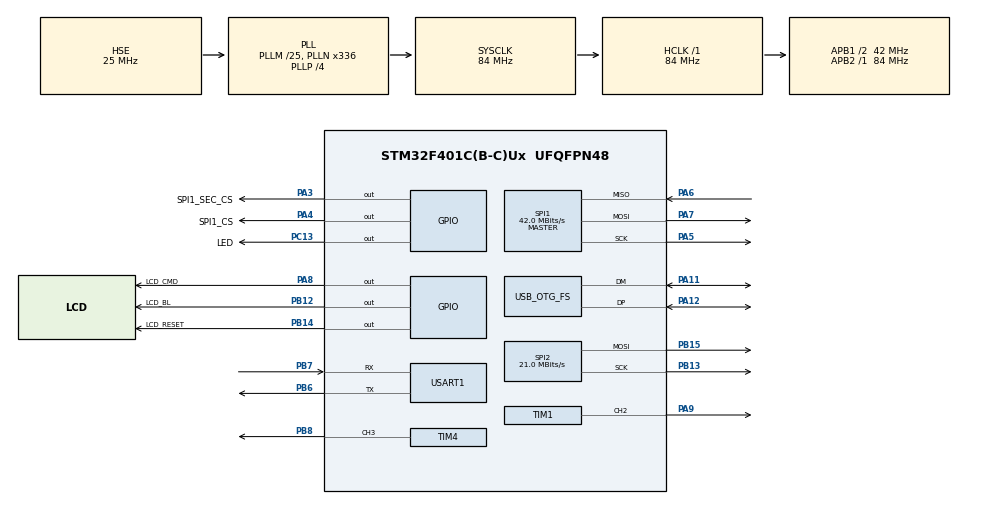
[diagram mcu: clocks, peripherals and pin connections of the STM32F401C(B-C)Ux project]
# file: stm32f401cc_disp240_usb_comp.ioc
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Dma.Request0=SPI2_TX
Dma.Request1=TIM4_CH3
Dma.Request2=TIM1_CH2
Dma.SPI2_TX.0.Direction=DMA_MEMORY_TO_PERIPH
Dma.SPI2_TX.0.FIFOMode=DMA_FIFOMODE_ENABLE
Dma.SPI2_TX.0.FIFOThreshold=DMA_FIFO_THRESHOLD_FULL
Dma.SPI2_TX.0.Instance=DMA1_Stream4
Dma.SPI2_TX.0.MemBurst=DMA_MBURST_INC4
Dma.SPI2_TX.0.MemDataAlignment=DMA_MDATAALIGN_WORD
Dma.SPI2_TX.0.MemInc=DMA_MINC_ENABLE
Dma.SPI2_TX.0.Mode=DMA_NORMAL
Dma.SPI2_TX.0.PeriphBurst=DMA_PBURST_SINGLE
Dma.SPI2_TX.0.PeriphDataAlignment=DMA_PDATAALIGN_BYTE
Dma.SPI2_TX.0.PeriphInc=DMA_PINC_DISABLE
Dma.SPI2_TX.0.Priority=DMA_PRIORITY_HIGH
Dma.TIM1_CH2.2.Direction=DMA_MEMORY_TO_PERIPH
Dma.TIM1_CH2.2.FIFOMode=DMA_FIFOMODE_ENABLE
Dma.TIM1_CH2.2.FIFOThreshold=DMA_FIFO_THRESHOLD_FULL
Dma.TIM1_CH2.2.Instance=DMA2_Stream2
Dma.TIM1_CH2.2.MemBurst=DMA_MBURST_INC4
Dma.TIM1_CH2.2.MemDataAlignment=DMA_MDATAALIGN_WORD
Dma.TIM1_CH2.2.MemInc=DMA_MINC_ENABLE
Dma.TIM1_CH2.2.Mode=DMA_CIRCULAR
Dma.TIM1_CH2.2.PeriphBurst=DMA_PBURST_SINGLE
Dma.TIM1_CH2.2.PeriphDataAlignment=DMA_PDATAALIGN_HALFWORD
Dma.TIM1_CH2.2.PeriphInc=DMA_PINC_DISABLE
Dma.TIM1_CH2.2.Priority=DMA_PRIORITY_VERY_HIGH
Dma.TIM4_CH3.1.Direction=DMA_MEMORY_TO_PERIPH
Dma.TIM4_CH3.1.FIFOMode=DMA_FIFOMODE_ENABLE
Dma.TIM4_CH3.1.FIFOThreshold=DMA_FIFO_THRESHOLD_FULL
Dma.TIM4_CH3.1.Instance=DMA1_Stream7
Dma.TIM4_CH3.1.MemBurst=DMA_MBURST_INC4
Dma.TIM4_CH3.1.MemDataAlignment=DMA_MDATAALIGN_WORD
Dma.TIM4_CH3.1.MemInc=DMA_MINC_ENABLE
Dma.TIM4_CH3.1.Mode=DMA_CIRCULAR
Dma.TIM4_CH3.1.PeriphBurst=DMA_PBURST_SINGLE
Dma.TIM4_CH3.1.PeriphDataAlignment=DMA_PDATAALIGN_HALFWORD
Dma.TIM4_CH3.1.PeriphInc=DMA_PINC_DISABLE
Dma.TIM4_CH3.1.Priority=DMA_PRIORITY_HIGH
Mcu.Family=STM32F4
Mcu.Name=STM32F401C(B-C)Ux
Mcu.Package=UFQFPN48
NVIC.DMA1_Stream4_IRQn=true\:1\:0\:true\:false\:true\:false
NVIC.DMA1_Stream7_IRQn=true\:1\:0\:true\:false\:true\:false
NVIC.DMA2_Stream2_IRQn=true\:0\:0\:true\:false\:true\:false
NVIC.OTG_FS_IRQn=true\:1\:0\:true\:false\:true\:false
NVIC.PriorityGroup=NVIC_PRIORITYGROUP_4
PA11.Mode=Host_Only
PA11.Signal=USB_OTG_FS_DM
PA12.Mode=Host_Only
PA12.Signal=USB_OTG_FS_DP
PA13.Mode=Serial_Wire
PA13.Signal=SYS_JTMS-SWDIO
PA14.Mode=Serial_Wire
PA14.Signal=SYS_JTCK-SWCLK
PA3.GPIO_Label=SPI1_SEC_CS
PA3.GPIO_Speed=GPIO_SPEED_FREQ_VERY_HIGH
PA3.Signal=GPIO_Output
PA4.GPIO_Label=SPI1_CS
PA4.PinState=GPIO_PIN_SET
PA4.Signal=GPIO_Output
PA5.Mode=Full_Duplex_Master
PA5.Signal=SPI1_SCK
PA6.Mode=Full_Duplex_Master
PA6.Signal=SPI1_MISO
PA7.Mode=Full_Duplex_Master
PA7.Signal=SPI1_MOSI
PA8.GPIO_Label=LCD_CMD
PA8.GPIO_Speed=GPIO_SPEED_FREQ_HIGH
PA8.Signal=GPIO_Output
PA9.Signal=S_TIM1_CH2
PB12.GPIO_Label=LCD_BL
PB12.Signal=GPIO_Output
PB13.Mode=TX_Only_Simplex_Unidirect_Master
PB13.Signal=SPI2_SCK
PB14.GPIO_Label=LCD_RESET
PB14.Signal=GPIO_Output
PB15.Mode=TX_Only_Simplex_Unidirect_Master
PB15.Signal=SPI2_MOSI
PB6.Mode=Asynchronous
PB6.Signal=USART1_TX
PB7.Mode=Asynchronous
PB7.Signal=USART1_RX
PB8.Signal=S_TIM4_CH3
PC13-ANTI_TAMP.GPIO_Label=LED
PC13-ANTI_TAMP.GPIO_ModeDefaultOutputPP=GPIO_MODE_OUTPUT_OD
PC13-ANTI_TAMP.Signal=GPIO_Output
PC14-OSC32_IN.Mode=LSE-External-Oscillator
PC14-OSC32_IN.Signal=RCC_OSC32_IN
PC15-OSC32_OUT.Mode=LSE-External-Oscillator
PC15-OSC32_OUT.Signal=RCC_OSC32_OUT
PH0\ -\ OSC_IN.Mode=HSE-External-Oscillator
PH0\ -\ OSC_IN.Signal=RCC_OSC_IN
PH1\ -\ OSC_OUT.Mode=HSE-External-Oscillator
PH1\ -\ OSC_OUT.Signal=RCC_OSC_OUT
ProjectManager.HeapSize=0x200
ProjectManager.StackSize=0x400
ProjectManager.TargetToolchain=SW4STM32
RCC.48MHZClocksFreq_Value=48000000
RCC.AHBFreq_Value=84000000
RCC.APB1CLKDivider=RCC_HCLK_DIV2
RCC.APB1Freq_Value=42000000
RCC.APB1TimFreq_Value=84000000
RCC.APB2Freq_Value=84000000
RCC.APB2TimFreq_Value=84000000
RCC.CortexFreq_Value=84000000
RCC.HCLKFreq_Value=84000000
RCC.HSE_VALUE=25000000
RCC.HSI_VALUE=16000000
RCC.PLLM=25
RCC.PLLN=336
RCC.PLLP=RCC_PLLP_DIV4
RCC.PLLQ=7
RCC.RCC_RTC_Clock_Source=RCC_RTCCLKSOURCE_LSE
RCC.RCC_RTC_Clock_SourceVirtual=RCC_RTCCLKSOURCE_LSE
RCC.SYSCLKFreq_VALUE=84000000
RCC.SYSCLKSource=RCC_SYSCLKSOURCE_PLLCLK
RCC.VCOOutputFreq_Value=336000000
SH.S_TIM1_CH2.0=TIM1_CH2,PWM Generation2 CH2
SH.S_TIM4_CH3.0=TIM4_CH3,PWM Generation3 CH3
SPI1.BaudRatePrescaler=SPI_BAUDRATEPRESCALER_2
SPI1.CLKPhase=SPI_PHASE_1EDGE
SPI1.CLKPolarity=SPI_POLARITY_LOW
SPI1.CalculateBaudRate=42.0 MBits/s
SPI1.DataSize=SPI_DATASIZE_8BIT
SPI1.Direction=SPI_DIRECTION_2LINES
SPI1.Mode=SPI_MODE_MASTER
SPI1.VirtualType=VM_MASTER
SPI2.BaudRatePrescaler=SPI_BAUDRATEPRESCALER_2
SPI2.CLKPhase=SPI_PHASE_2EDGE
SPI2.CLKPolarity=SPI_POLARITY_HIGH
SPI2.CalculateBaudRate=21.0 MBits/s
SPI2.Direction=SPI_DIRECTION_2LINES
SPI2.Mode=SPI_MODE_MASTER
SPI2.VirtualType=VM_MASTER
TIM1.Channel-PWM\ Generation2\ CH2=TIM_CHANNEL_2
TIM1.Period=12
TIM3.Period=65535
TIM3.Prescaler=84-1
TIM4.Channel-PWM\ Generation3\ CH3=TIM_CHANNEL_3
TIM4.Period=1903
USART1.VirtualMode=VM_ASYNC
USB_HOST.USBH_DEBUG_LEVEL=3
USB_HOST.USBH_HandleTypeDef=hUsbHostFS
USB_HOST.VirtualModeFS=Hid
USB_OTG_FS.VirtualMode=Host_Only
USB_OTG_FS.phy_itface=HCD_PHY_EMBEDDED
VP_FATFS_VS_Generic.Mode=User_defined
VP_RTC_VS_RTC_Activate.Mode=RTC_Enabled
VP_RTC_VS_RTC_Calendar.Mode=RTC_Calendar
VP_TIM3_VS_ClockSourceINT.Mode=Internal
VP_USB_HOST_VS_USB_HOST_HID_FS.Mode=HID_FS
board=custom

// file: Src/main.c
/* USER CODE BEGIN Header */
/**
  ******************************************************************************
  * @file           : main.c
  * @brief          : Main program body
  ******************************************************************************
  ** This notice applies to any and all portions of this file
  * that are not between comment pairs USER CODE BEGIN and
  * USER CODE END. Other portions of this file, whether
  * inserted by the user or by software development tools
  * are owned by their respective copyright owners.
  *
  * COPYRIGHT(c) 2020 STMicroelectronics
  *
  * Redistribution and use in source and binary forms, with or without modification,
  * are permitted provided that the following conditions are met:
  *   1. Redistributions of source code must retain the above copyright notice,
  *      this list of conditions and the following disclaimer.
  *   2. Redistributions in binary form must reproduce the above copyright notice,
  *      this list of conditions and the following disclaimer in the documentation
  *      and/or other materials provided with the distribution.
  *   3. Neither the name of STMicroelectronics nor the names of its contributors
  *      may be used to endorse or promote products derived from this software
  *      without specific prior written permission.
  *
  * THIS SOFTWARE IS PROVIDED BY THE COPYRIGHT HOLDERS AND CONTRIBUTORS "AS IS"
  * AND ANY EXPRESS OR IMPLIED WARRANTIES, INCLUDING, BUT NOT LIMITED TO, THE
  * IMPLIED WARRANTIES OF MERCHANTABILITY AND FITNESS FOR A PARTICULAR PURPOSE ARE
  * DISCLAIMED. IN NO EVENT SHALL THE COPYRIGHT HOLDER OR CONTRIBUTORS BE LIABLE
  * FOR ANY DIRECT, INDIRECT, INCIDENTAL, SPECIAL, EXEMPLARY, OR CONSEQUENTIAL
  * DAMAGES (INCLUDING, BUT NOT LIMITED TO, PROCUREMENT OF SUBSTITUTE GOODS OR
  * SERVICES; LOSS OF USE, DATA, OR PROFITS; OR BUSINESS INTERRUPTION) HOWEVER
  * CAUSED AND ON ANY THEORY OF LIABILITY, WHETHER IN CONTRACT, STRICT LIABILITY,
  * OR TORT (INCLUDING NEGLIGENCE OR OTHERWISE) ARISING IN ANY WAY OUT OF THE USE
  * OF THIS SOFTWARE, EVEN IF ADVISED OF THE POSSIBILITY OF SUCH DAMAGE.
  *
  ******************************************************************************
  */
/* USER CODE END Header */

#include "main.h"
#include "fatfs.h"
#include "usb_host.h"

/* USER CODE BEGIN Includes */
#include <stdio.h>
#include <stdarg.h>
#include <string.h>
#include <math.h>
#include <stdlib.h>

int  init_ram();
#include "st7789.h"
#include "stm32_adafruit_sd.h"

void setBK_imp(int k)
{

}
#define SD_TIMEOUT 30 * 1000

/* USER CODE END Includes */

RTC_HandleTypeDef hrtc;

SPI_HandleTypeDef hspi1;
SPI_HandleTypeDef hspi2;
DMA_HandleTypeDef hdma_spi2_tx;

TIM_HandleTypeDef htim3;

UART_HandleTypeDef huart1;

void SystemClock_Config(void);
static void MX_GPIO_Init(void);
static void MX_DMA_Init(void);
static void MX_USART1_UART_Init(void);
static void MX_SPI2_Init(void);
static void MX_SPI1_Init(void);
static void MX_RTC_Init(void);
static void MX_TIM4_Init(void);
static void MX_TIM1_Init(void);
static void MX_TIM3_Init(void);
void MX_USB_HOST_Process(void);

/* USER CODE BEGIN 0 */
#if 1
#include "usbh_def.h"
#include "usbh_hid.h"
#include "usbh_hid_keybd.h"
extern USBH_HandleTypeDef hUsbHostFS;
#endif
void retarget_put_char(char p)
{
	HAL_UART_Transmit(&huart1, &p, 1, 0xffffff); // send message via UART
}
int _write(int fd, char* ptr, int len)
{
    (void)fd;
    int i = 0;
    while (ptr[i] && (i < len))
    {
    	if (ptr[i] == '\r')
    	{

    	}
    	else
    	{
			retarget_put_char((int)ptr[i]);
			if (ptr[i] == '\n')
			{
				retarget_put_char((int)'\r');
			}
    	}
        i++;
    }
    return len;
}

// display utils
#if 0
void LCD_Draw_Char(char Character, int16_t X, int16_t Y, uint16_t Colour, uint16_t Size, uint16_t Background_Colour)
{
	printf("!!!LCD_Draw_Char: %c\n",Character);
}
void  LCD_Draw_Text2(const char* Text, int16_t X, int16_t Y, uint16_t Colour, uint16_t SizeX, uint16_t SizeY,uint16_t Background_Colour)
{
	printf("!!!LCD_Draw_Text2: %s\n",Text);
}
void  LCD_Draw_Text(const char* Text, int16_t X, int16_t Y, uint16_t Colour, uint16_t Size, uint16_t Background_Colour)
{
	printf("!!!LCD_Draw_Text: %s\n",Text);
}
#endif
volatile uint16_t keyMatrix  = 0;
uint16_t scanJSK()
{
	return keyMatrix;
}
void clearKey()
{
	keyMatrix = 0;
}

int  volume_perc = 50;

void setVolume0(int percent)
{
	volume_perc = percent;
	if(volume_perc<0)volume_perc = 0;
	if(volume_perc>100)volume_perc = 100;
	percent = volume_perc;
}

int getVolume0()
{
	return volume_perc;
}

#if 1
#define H_SIZE_BITS (8)
#define H_SIZE (1<<H_SIZE_BITS)
#define R_SIZE_BITS (11)
#define R_SIZE (1<<R_SIZE_BITS)
#else
#define H_SIZE_BITS (5)
#define H_SIZE (1<<H_SIZE_BITS)
#define R_SIZE_BITS (6)
#define R_SIZE (1<<R_SIZE_BITS)
#endif

#define PAL     626
#define NTSC    526

#define LINES PAL

//uint16_t VideoBuffer0s[N_SIZE];
//TIM_InitStruct.Autoreload = 12; 84000000/13       = 6.461538MHz

// line_time*cpu_freq/(Autoreload+1)
// 0.000064sec*84000000/13  = 413.53
#define N_TICKS  	(412)

//N_TICKS - BORDER and aligned
#define N_SIZE  	(N_TICKS)

// start pixels position
#define NS_SIZE 	(104)

// last pixels position =start+sinclair SCREENW +8 pixels border*2 must be <= N_TICKS
#define NL_SIZE 	(NS_SIZE+256+16)

// odd even synhro position
#define HALF_TICKS 	(N_TICKS/2)

//2.3*84mhz/13 = 14.86
#define T2_3us      (15)
//4.7*84mhz/13 = 30.36
#define T4_7us      (30)

uint16_t  VideoBuffer[N_SIZE*2];
uint16_t* VideoBuffer0 = &VideoBuffer[0];
uint16_t* VideoBuffer0m =&VideoBuffer[N_SIZE];

#define MAX_LEVEL  7
#define ZERO_LEVEL 0
#define BASE_LEVEL 3
#define SYNC_LEVEL 0
//f= 1/(2*PI*R*C);
//R= 300 Om / F = 5000000Hz ;
//C =1/ (F*2*Pi*R)

/*
#define MAX_LEVEL  8
#define ZERO_LEVEL 0
#define BASE_LEVEL 3
#define SYNC_LEVEL 0
*/
//volatile int complete = 3;
//volatile int oddEven = 0;

// 0 - line def with data, 1 - line def   2 - line1 3 -line3 4-line313 5-line 318 6-Line623 7-Line624

uint8_t policyT[PAL];

inline funcDef(uint16_t *pnt)
{
	uint32_t* pnt32 = pnt;
	for(int k=0;k<T4_7us/2;k++)
	{
		pnt32[k] = (SYNC_LEVEL<<16) | SYNC_LEVEL;
	}
	for(int k=T4_7us/2;k<N_SIZE/2;k++)
	{
		pnt32[k] = (BASE_LEVEL<<16) | BASE_LEVEL;
		//pnt[k] = BASE_LEVEL;
	}
	pnt[N_SIZE-1] = BASE_LEVEL;
}
inline  funcDefT(uint16_t *pnt)
{
	funcDef(pnt);
	/*(
	for(int k=0;k<T4_7us;k++)
	{
		pnt[k] = SYNC_LEVEL;
	}
	for(int k=T4_7us;k<NS_SIZE;k++)
	{
		pnt[k] = BASE_LEVEL;
	}
	for(int k=NL_SIZE;k<N_SIZE;k++)
	{
		pnt[k] = BASE_LEVEL;
	}
	*/
}
void funcL1(uint16_t *pnt)
{
	for(int k=0;k<N_SIZE;k++)
	{
		pnt[k] = BASE_LEVEL;
	}
	for(int k=0;k<HALF_TICKS-T4_7us;k++)
	{
		pnt[k] = SYNC_LEVEL;
	}
	for(int k=N_SIZE-T4_7us;k<N_SIZE;k++)
	{
		pnt[k] = SYNC_LEVEL;
	}
}

void funcL3(uint16_t *pnt)
{
	for(int k=0;k<N_SIZE;k++)
	{
		pnt[k] = BASE_LEVEL;
	}
	for(int k=0;k<HALF_TICKS-T4_7us;k++)
	{
		pnt[k] = SYNC_LEVEL;
	}
	for(int k=HALF_TICKS;k<HALF_TICKS+T2_3us;k++)
	{
		pnt[k] = SYNC_LEVEL;
	}
}

void funcL313(uint16_t *pnt)
{
	for(int k=0;k<N_SIZE;k++)
	{
		pnt[k] = BASE_LEVEL;
	}
	for(int k=0;k<T2_3us;k++)
	{
		pnt[k] = SYNC_LEVEL;
	}
	for(int k=HALF_TICKS;k<N_SIZE-T4_7us;k++)
	{
		pnt[k] = SYNC_LEVEL;
	}
}

void funcL318(uint16_t *pnt)
{
	for(int k=0;k<N_SIZE;k++)
	{
		pnt[k] = BASE_LEVEL;
	}
	for(int k=0;k<T2_3us;k++)
	{
		pnt[k] = SYNC_LEVEL;
	}
}
void funcL623(uint16_t *pnt)
{
	for(int k=0;k<N_SIZE;k++)
	{
		pnt[k] = BASE_LEVEL;
	}
	for(int k=0;k<T4_7us;k++)
	{
		pnt[k] = SYNC_LEVEL;
	}
	for(int k=HALF_TICKS;k<HALF_TICKS+T2_3us;k++)
	{
		pnt[k] = SYNC_LEVEL;
	}
}
void funcL624(uint16_t *pnt)
{
	for(int k=0;k<N_SIZE;k++)
	{
		pnt[k] = BASE_LEVEL;
	}
	for(int k=0;k<T2_3us;k++)
	{
		pnt[k] = SYNC_LEVEL;
	}
	for(int k=HALF_TICKS;k<HALF_TICKS+T2_3us;k++)
	{
		pnt[k] = SYNC_LEVEL;
	}
}

enum lineType {LinWD,lineND,line1,line3,line313,line318,line623,line624};
volatile int lineN = 0;
int 		 vBaseLine = 0;
int initTables()
{
	int WW= 0;
	lineN = 0;
    for(int k=0;k<PAL;k++)
    {
    	policyT[k] = LinWD;
    }

    if(LINES==PAL)
    {
    	policyT[623]   = line623;
    	policyT[624]   = line624;
    	policyT[625]   = line624;
    	policyT[1]     = line1;
    	policyT[2]     = line1;
    	policyT[3]     = line3;
    	policyT[4]     = line624;
    	policyT[5] 	   = line624;
    	policyT[311]   = line624;
    	policyT[312]   = line624;
    	policyT[313]   = line313;
    	policyT[314]   = line1;
    	policyT[315]   = line1;
    	policyT[316]   = line624;
    	policyT[317]   = line624;
    	policyT[318]   = line318;
    	vBaseLine = 23+25;
    	for(int k=0;k<23+25;k++)
    	{
    		if(policyT[k]==LinWD)
    			policyT[k] = lineND;
    		if(policyT[k+LINES/2]==LinWD)
    			policyT[k+LINES/2] = lineND;
    	}

    	for(int k=LINES/2-25;k<LINES/2;k++)
    	{
    		if(policyT[k]==LinWD)
    			policyT[k] = lineND;
    		if(policyT[k+LINES/2]==LinWD)
    			policyT[k+LINES/2] = lineND;
    	}
    }
    else
    {
    	policyT[1]   = line624;
    	policyT[2]   = line624;
    	policyT[3]   = line624;
    	policyT[4]   = line1;
    	policyT[5]   = line1;
    	policyT[6]   = line1;
    	policyT[7]   = line624;
    	policyT[8]   = line624;
    	policyT[9]   = line624;

    	policyT[263]   = line623;
    	policyT[264]   = line624;
    	policyT[265]   = line624;
    	policyT[266]   = line313;
    	policyT[267]   = line1;
    	policyT[268]   = line1;
    	policyT[269]   = line3;
    	policyT[270]   = line1;
    	policyT[271]   = line1;
    	policyT[272]   = line318;
    	vBaseLine = 23;
    	for(int k=0;k<23;k++)
    	{
    		if(policyT[k]==LinWD)
    			policyT[k] = lineND;
    		if(policyT[k+LINES/2]==LinWD)
    			policyT[k+LINES/2] = lineND;
    	}
    }
    for(int k=0;k<LINES;k++)
    {
    	if(policyT[k] == LinWD) WW++;
    }
    return WW;
}
volatile int prevFull0;
volatile int prevFull1;
int testPattern = 1;

const int stable[] = {0,1,2,3,4,5,6,7,6,5,4,3,2,1,0};
const int tables[] = {0,1,1,2,1,2,2,3};
//uint8_t  BKL0a[512];
//uint32_t BKL1a[512*4];
extern const uint32_t BKL1a[512][4];
uint32_t delta0 = 0;
uint32_t delta1 = 0;
uint32_t delta2 = 0;
uint8_t getBorderColor(int line);

void HAL_TIM_PeriodElapsedCallback3(int hl)
{
			  uint32_t t_start = TIM3->CNT;
			  uint16_t * pnt0 = hl?VideoBuffer0m:VideoBuffer0;
			  lineN++;
			  if(lineN==LINES)
			  {
				  lineN = 1;
			  }

			  int pol = policyT[lineN];
			  if((prevFull0!=pol) || (prevFull1!=pol))
			  {
				  switch(pol)
				  {
					  case  line1: funcL1(pnt0);break;
					  case  line3: funcL3(pnt0);break;
					  case  line313: funcL313(pnt0);break;
					  case  line318: funcL318(pnt0);break;
					  case  line623: funcL623(pnt0);break;
					  case  line624: funcL624(pnt0);break;
					  case  LinWD:   funcDefT(pnt0);break;
					  case  lineND:   funcDef(pnt0);break;
				  }
			  }
			  prevFull0 = prevFull1;
			  prevFull1 = pol;
			  int flagTime = ((HAL_GetTick()/400)&1)*0x100;
			  int tline = -1;
			  if(pol==LinWD)
			  {
				  int rLine = ((lineN-1) % (LINES/2))-(vBaseLine-1);
				  if(testPattern)
				  {
					  pnt0 += NS_SIZE;

					  if(rLine<80)
					  {
						  for(int k=0;k<NL_SIZE-NS_SIZE-4;k++)
						  {
							  pnt0[k] = ((k&1)?ZERO_LEVEL:(MAX_LEVEL/2))+BASE_LEVEL;
						  }
					  }
					  else if(rLine<160)
					  {
						  for(int k=0;k<NL_SIZE-NS_SIZE-4;k++)
						  {
							  pnt0[k] = (stable[(k/8)&0xf])+BASE_LEVEL;
						  }
					  }
					  else
					  {
						  for(int k=0;k<NL_SIZE-NS_SIZE-4;k++)
						  {
							  pnt0[k] = ((k&4)?ZERO_LEVEL:(MAX_LEVEL/3))+BASE_LEVEL;
						  }
					  }
					  /*
					  if(rLine==0)
					  {
						  for(int k=0;k<NL_SIZE-NS_SIZE-4;k++)
							  pnt0[k] = ((k&4)?ZERO_LEVEL:(MAX_LEVEL))+BASE_LEVEL;

					  }
					  if(rLine==239)
					  {
						  for(int k=0;k<NL_SIZE-NS_SIZE-4;k++)
							  pnt0[k] = ((k&4)?ZERO_LEVEL:MAX_LEVEL)+BASE_LEVEL;

					  }
					  */
				  }
				  else  // real data from spectrum
				  {
					  pnt0 += NS_SIZE;
					  //SINCLAIR_FLAGS.border = SINCLAIR_FLAGS.borderArray[rLine];
					  //SINCLAIR_FLAGS.borderArray_OLD[rLine] =SINCLAIR_FLAGS.border;
					  uint8_t border = getBorderColor(rLine);
					  int c10 = tables[border&7];

					  int scale = (0xA0*MAX_LEVEL/3)>>8;
					  uint16_t CLR1  =  scale*(c10)+BASE_LEVEL;
					  uint32_t CLR_F = (CLR1<<16)|CLR1  ;
					  uint32_t *pnt32 = (uint32_t *)pnt0;
					  for(int k=0;k<8;k++)
					  {
						  pnt0[k] = CLR1;
					  }

					  tline = rLine-(240-192)/2;
					  if(tline>=0&&tline<192)
					  {

						  int yb =  tline / 8;
						  int yt =  tline & 7;
						  int y  =  tline;// yt+yb*8;
						  uint16_t vr = ((y<<8)&0x0700)|((y<<2)&0xe0)|((y<<5)&0x1800);
						  uint8_t* VRAM = get_VIDEO_RAM()+vr;
						  uint8_t* ARAM = get_ATTR_RAM()+yb*32;
						  uint32_t *pnt = &pnt0[8];
						  for(int xb=0;xb<32;xb++)
						  {
							  //  uint16_t CLR0B = BKL0a[ARAM[xb]|flagTime];
							    uint32_t* BKL1a0 = &BKL1a[ARAM[xb]|flagTime][0];
								//uint16_t CLR0  = CLR0B&0xf;
								//uint16_t CLR1  = CLR0B>>4;
								uint8_t  val   = VRAM[xb];
								pnt[0] = BKL1a0[(val>>6)&0x3];
								pnt[1] = BKL1a0[(val>>4)&0x3];
								pnt[2] = BKL1a0[(val>>2)&0x3];
								pnt[3] = BKL1a0[(val)&0x3];
								pnt+=4;
#if 0
#if 0
                                for(int bit=0;bit<8;bit++)
                                {
                                	pnt[bit] = (val&(0x80>>bit))?CLR1:CLR0;
                                }
#else
								pnt[0] = (val&0x80)?CLR1:CLR0;
								pnt[1] = (val&0x40)?CLR1:CLR0;
								pnt[2] = (val&0x20)?CLR1:CLR0;
								pnt[3] = (val&0x10)?CLR1:CLR0;
								pnt[4] = (val&0x08)?CLR1:CLR0;
								pnt[5] = (val&0x04)?CLR1:CLR0;
								pnt[6] = (val&0x02)?CLR1:CLR0;
								pnt[7] = (val&0x01)?CLR1:CLR0;
#endif
								pnt += 8;
#endif
						  }

						 // uint8_t* ppnt = get_VIDEO_RAM()+ 32*tline;
						 // for(int k=8;k<NL_SIZE-NS_SIZE-4-8;k++)
						 // {
						//	  int bit = k&0x7;
						//	  pnt0[k] = (ppnt[(k-8)/8]>>bit)+BASE_LEVEL;
						 // }
					  }
					  else
					  {
						  uint32_t *pnt32z = (uint32_t *)pnt0;
						  for(int k=8/2;k<(NL_SIZE-NS_SIZE-8)/2;k++)
						  {
							  pnt32z[k] = (CLR1<<16)|CLR1;;
						  }
						  //for(int k=8/2;k<(NL_SIZE-NS_SIZE-4-8)/2;k++)
						  {
							  //pnt[k] = CLR_F;
						  }
					  }
					  uint32_t *pnt32z = (uint32_t *)pnt0;
					  for(int k=(NL_SIZE-NS_SIZE-8)/2;k<(NL_SIZE-NS_SIZE)/2;k++)
					  {
						  pnt32z[k] = (CLR1<<16)|CLR1;
						  //pnt0[k] = pnt0[k] = CLR1;ZERO_LEVEL+BASE_LEVEL+2;
					  }
				  }
			  }
			  if(tline==0)
			  delta0 =  TIM3->CNT-t_start;
			  if(tline==192/2)
			  delta1 =  TIM3->CNT-t_start;
			  if(tline==192)
			  delta2 =  TIM3->CNT-t_start;
}

#ifdef TV_OUT
/*
void LCD_Draw_Char(char Character, int16_t X, int16_t Y, uint16_t Colour, uint16_t Size, uint16_t Background_Colour)
{
	printf("!!!LCD_Draw_Char: %c\n",Character);
}
void  LCD_Draw_Text2(const char* Text, int16_t X, int16_t Y, uint16_t Colour, uint16_t SizeX, uint16_t SizeY,uint16_t Background_Colour)
{
	printf("!!!LCD_Draw_Text2: %s\n",Text);
}
void  LCD_Draw_Text(const char* Text, int16_t X, int16_t Y, uint16_t Colour, uint16_t Size, uint16_t Background_Colour)
{
	printf("!!!LCD_Draw_Text: %s\n",Text);
}
*/
int LCD_getWidth()
{
	return 256;
}
int LCD_getHeight()
{
	return 192;
}
void setPixel(int x,int y,int color,uint8_t attr)
{
	if(x>=0&&x<256&&y>=0&&y<192)
	{
	  int tline = y;
	  int yb =  tline / 8;
	  int yt =  tline & 7;
	  uint16_t vr = ((y<<8)&0x0700)|((y<<2)&0xe0)|((y<<5)&0x1800);
	  uint8_t* VRAM = get_VIDEO_RAM()+vr;
	  uint8_t* ARAM = get_ATTR_RAM()+yb*32;
	  int xb = x/8;
	  ARAM[xb] = attr;
	  if(color)
	  {
		  VRAM[xb] |= 0x80 >>(x&7);
	  }
	  else
	  {
		  VRAM[xb] &= ~(0x80 >>(x&7));
	  }
	}
}
void LCD_fillRect(uint16_t x1, uint16_t y1, uint16_t w, uint16_t h, uint16_t color)
{

      if(color==BLACK)
      {
    	  for(int y=y1;y<y1+h;y++)
    	  {
    		  for(int x=x1;x<x1+w;x++)
    		  {
    			  setPixel(x,y,1,7*8+0);
    		  }
    	  }
      }
      else
      {
    	  for(int y=y1;y<y1+h;y++)
    	  {
    		  for(int x=x1;x<x1+w;x++)
    		  {
    			  setPixel(x,y,0,7*8+0);
    		  }
    	  }
      }

}
void LCD_Write8x8line16(uint16_t x1,uint16_t y1,uint16_t * data)
{
}
#endif

void clearFullScreen()
{
	LCD_fillRect(0, 0, LCD_getWidth(), LCD_getHeight(), BLACK);
}

uint16_t VoiceBuff1[H_SIZE];
uint8_t VoiceBuff1T[R_SIZE];

volatile int sound_head = 0;
volatile int sound_tail = 0;

int sound_size()
{
	return (sound_head+R_SIZE-sound_tail)&(R_SIZE-1);
}
inline int iwaitFor()
{
	int cntWait = 0;
	//TimMasterHandle.Instance = TIM2;
	while(((sound_head+R_SIZE-sound_tail)&(R_SIZE-1))>(R_SIZE-16))
	{

		    // Disable HAL tick interrupt
		   // __HAL_TIM_DISABLE_IT(&TimMasterHandle, TIM_IT_CC2);

		    // Request to enter SLEEP mode
		    //HAL_PWR_EnterSLEEPMode(PWR_MAINREGULATOR_ON, PWR_SLEEPENTRY_WFI);

		    // Enable HAL tick interrupt
		    //__HAL_TIM_ENABLE_IT(&TimMasterHandle, TIM_IT_CC2);
				//HAL_PWR_EnterSLEEPMode(PWR_MAINREGULATOR_ON, PWR_SLEEPENTRY_WFI);
		//HAL_Delay(1);
		cntWait++;
	}
	return cntWait;
}
int waitFor()
{
	return iwaitFor();
}
void push_pair(uint16_t Left,uint16_t Right)
{
	iwaitFor();
	VoiceBuff1T[sound_head] = Right;
	sound_head = (sound_head+1)&(R_SIZE-1);
}
void cleanAudioBuffer()
{
	waitFor();
	for(int k=0;k<R_SIZE;k++)
	{
#ifdef DAC_OUTPUT
			push_pair(2048,2048);
#else
			push_pair(MAX_VOLUME/2,MAX_VOLUME/2);
#endif
	}
}
volatile int cnt0 = 0;
volatile int cnt1 = 0;
void TIM4_TC7()
{
	cnt0++;
	int k;
	for(k=H_SIZE/2;k<H_SIZE;k++)
	{
		VoiceBuff1[k] =((uint16_t)(VoiceBuff1T[sound_tail]));
		sound_tail = (sound_tail+1)&(R_SIZE-1);
	}
}
void TIM4_HT7()
{
	cnt1++;
	int k;
	for(k=0;k<H_SIZE/2;k++)
	{
		VoiceBuff1[k] = ((uint16_t) (VoiceBuff1T[sound_tail]));
		sound_tail = (sound_tail+1)&(R_SIZE-1);
	}
}

void loop()
{
}
extern int ustate;

uint8_t* SD_BUFF = (uint8_t* ) &VideoBuffer[0];
uint8_t bbuf[512];
void *	m_malloc (size_t __size)
{
	if(__size == 512)
	{
		return bbuf;
	}
	else
	{
		//printf("alloc size = %d\n",__size);

		return malloc(__size);
	}
}
void m_free (void *pnt)
{
	if(pnt==bbuf)
	{

	}
	else
		free(pnt);
}

#define IMAGE_WIDTH  240
RGB_typedef *RGB_matrix;
/*
uint16_t color_convertRGB_to161(uint8_t R,uint8_t G,uint8_t B)
{

	return __REV16(((R>>3)<<11)|((G>>2)<<5)|(B>>3));
}
*/
void LCD_sendLineRect(uint16_t y1,uint8_t * data);

void TIM1_TC2()
{
	HAL_TIM_PeriodElapsedCallback3(1);
}
void TIM1_HT2()
{
	HAL_TIM_PeriodElapsedCallback3(0);
}
void TIM1_TE2()
{
}

#if 1
void init_timerLL1()
{
	  LL_AHB1_GRP1_EnableClock(LL_AHB1_GRP1_PERIPH_DMA2);

	  LL_DMA_ConfigAddresses(DMA2, LL_DMA_STREAM_2, (uint32_t)&VideoBuffer[0], (uint32_t)&TIM1->CCR2, LL_DMA_GetDataTransferDirection(DMA2, LL_DMA_STREAM_2));
	  LL_DMA_SetDataLength(DMA2, LL_DMA_STREAM_2, N_SIZE*2);
	  LL_DMA_EnableIT_TC(DMA2, LL_DMA_STREAM_2);
	  LL_DMA_EnableIT_HT(DMA2, LL_DMA_STREAM_2);

	  /***************************/
	  /* Enable the DMA transfer */
	  /***************************/
	  LL_DMA_EnableStream(DMA2, LL_DMA_STREAM_2);

	  LL_TIM_EnableDMAReq_CC2(TIM1);

	  LL_TIM_CC_EnableChannel(TIM1, LL_TIM_CHANNEL_CH2);

	  LL_TIM_EnableAllOutputs(TIM1);
	  LL_TIM_EnableCounter(TIM1);

}
#endif

void init_timerLL4()
{
	  LL_AHB1_GRP1_EnableClock(LL_AHB1_GRP1_PERIPH_DMA2);
	  LL_DMA_ConfigAddresses(DMA1, LL_DMA_STREAM_7, (uint32_t)&VoiceBuff1[0], (uint32_t)&TIM4->CCR3, LL_DMA_GetDataTransferDirection(DMA1, LL_DMA_STREAM_7));
	  LL_DMA_SetDataLength(DMA1, LL_DMA_STREAM_7, H_SIZE);
	  LL_DMA_EnableIT_TC(DMA1, LL_DMA_STREAM_7);
	  LL_DMA_EnableIT_HT(DMA1, LL_DMA_STREAM_7);

	  /***************************/
	  /* Enable the DMA transfer */
	  /***************************/
	  LL_DMA_EnableStream(DMA1, LL_DMA_STREAM_7);

	  LL_TIM_EnableDMAReq_CC3(TIM4);

	  LL_TIM_CC_EnableChannel(TIM4, LL_TIM_CHANNEL_CH3);

	  LL_TIM_EnableAllOutputs(TIM4);
	  LL_TIM_EnableCounter(TIM4);

}
extern uint8_t usb_mode;
extern USBH_HandleTypeDef hUsbHostFS;
uint8_t kstate = 0;

int dummyFunction(struct SYS_EVENT* ev)
{
	printf("dummy mess   = %x\r\n",ev->message);
	printf("dummy param1 = %x\r\n",ev->param1);
	printf("dummy param2 = %x\r\n",ev->param2);
	return 0;
}

dispathFunction currFunc = &dummyFunction;
#define stackFuncSize 16
dispathFunction stackFunc[stackFuncSize];

int stackFuncP = 0;

void pushMenuFunc(void*fnk)
{
	if(stackFuncP<stackFuncSize-2)
	{
		stackFunc[stackFuncP] = fnk;
		stackFuncP++;
	}
}

dispathFunction popMenuFunc()
{
	if(stackFuncP>0)
	{
		stackFuncP--;
	}
	currFunc = stackFunc[stackFuncP];
	return currFunc;
}

void setCurrentFunc(void*fnk)
{
	pushMenuFunc(currFunc);
	currFunc = fnk;
}

char *mess = "Hello Dima\r";
int readDirIntoList1(char* currentDir)
{
	FILINFO 	MyFileInfo;
	DIR 		MyDirectory;
	FRESULT 	res;
	res = f_opendir(&MyDirectory,currentDir);
	int files = 0;
	if(res == FR_OK)
	{
		for (;;)
		{
			      res = f_readdir(&MyDirectory, &MyFileInfo);
			      if(res != FR_OK || MyFileInfo.fname[0] == 0)
				break;
			      //~ if(numFiles<LCD_getHeight()/CHAR_HEIGHT-2)
			      {
				     // if(files<NUM_LINES)
				      {
					      //strcpy(Lines[files].cacheLine,MyFileInfo.fname);
				    	  printf("file:: %7d %x	%s \r\n",MyFileInfo.fsize,MyFileInfo.fattrib,MyFileInfo.fname);
				    	  //putStr(MyFileInfo.fattrib,MyFileInfo.fname);
					      files++;
				      }
				      //~ const uint16_t yScr = (240-192)/2-4;
				      //~ const uint16_t xScr = (320-256)/2-4;
				      //~ int lp = (snumFiles-baseline);
				      //~ if(lp>=0&&lp<192/8-1)
				      //~ {
						//~ LCD_Draw_Text(MyFileInfo.fname,xScr,yScr+(snumFiles-baseline)*8, GREEN, 1, (selection==snumFiles)?YELLOW:BLACK);
				      //~ }
			      }
		}
      }
	else if(res==FR_NO_FILESYSTEM)
	{
		printf("FR_NO_FILESYSTEM\n");
		//~ LCD_Draw_Text("format?",10,130, GREEN, 2, BLACK);
	}
	else
	{
		//~ LCD_Draw_Text("open fail",10,130, GREEN, 2, BLACK);
	}
    f_closedir(&MyDirectory);
    return files;
}
int capsFl = 9;
void init_Sinclair();
int menu_dispatch(struct SYS_EVENT* ev);
int z48_z128_dispatch(struct SYS_EVENT* ev);
//uint8_t kbs[256];
HID_KEYBD_Info_TypeDef prev_state_s;
void setTapeSpeed(int ts);

void kscan0()
{
        MX_USB_HOST_Process();
    	if(usb_mode==HOST_USER_CLASS_ACTIVE)
    	{
			if(capsFl == 9)
			{
				kstate = 0x80;
				capsFl = 0;
			}
    		HID_KEYBD_Info_TypeDef * ki=USBH_HID_GetKeybdInfo(&hUsbHostFS);
    		//int reps = 1;
    		//while(ki && reps>0)
    		if(ki)
    		{
    			//reps --;
				prev_state_s = *ki;
				printf("%d %d %d %x : %x %x %x %x %x%x%x%x%x%x%x%x\n",
												delta0,
												delta1,
												delta2,
												ki->state,
												ki->keys[0],
												ki->keys[1],
												ki->keys[2],
												ki->keys[3],
												ki->lctrl,
												ki->lshift,
												ki->lalt,
												ki->lgui,
												ki->rctrl,
												ki->rshift,
												ki->ralt,
												ki->rgui);

#if 0
				char c = USBH_HID_GetASCIICode(ki);
				printf("%x : %x %x %x %x %x%x%x%x%x%x%x%x\n",
												ki->state,
												ki->keys[0],
												ki->keys[1],
												ki->keys[2],
												ki->keys[3],
												ki->lctrl,
												ki->lshift,
												ki->lalt,
												ki->lgui,
												ki->rctrl,
												ki->rshift,
												ki->ralt,
												ki->rgui);
#endif
				for(int k=0;k<1;k++)
				{
					switch(ki->keys[k])
					{
				    	case  KEY_RIGHTARROW: 	keyMatrix = K_RIGHT;break;
					    case  KEY_LEFTARROW: 	keyMatrix = K_LEFT;break;
					    case  KEY_DOWNARROW: 	keyMatrix = K_DOWN;break;
						case  KEY_UPARROW: 		keyMatrix = K_UP;break;
						case  KEY_F10: 			setTapeSpeed(0);break;
						case  KEY_F11: 			setTapeSpeed(1);break;
						case  KEY_F12: 			setTapeSpeed(2);break;

						case  0x0:  			keyMatrix = 0;break;
						case  KEY_ENTER:  		keyMatrix = K_FIRE;break;//enterbreak;
						case  KEY_SPACEBAR: 	keyMatrix = K_SPACE;break;
						case  KEY_ESCAPE:		keyMatrix = K_ESC;break;
						case  KEY_F7:  			setScreenOffset(0);break;
						case  KEY_F8:  			setScreenOffset(1);break;
						case  KEY_F9:  			setScreenOffset(2);break;
						case  KEY_F6:
										initRam();
										ay_reset();
										z80_reset(1);
										SKEY_QUE_init();
										setScreenOffset(0);
									break;
					};
				}

				if(ki->keys[0]==0x39)
				{
					if(capsFl&2)
					{
						capsFl&=~2;
					}
					else
					{
						capsFl|=2;
					}
					kstate = 0x80 | capsFl;
				}
				if(ki->keys[0]==0x53)
				{
					if(capsFl&1)
					{
						capsFl&=~1;
					}
					else
					{
						capsFl|=1;
					}
					kstate = 0x80 | capsFl;
				}
				if(ki->keys[0]==0x47)
				{
					if(capsFl&4)
					{
						capsFl&=~4;
					}
					else
					{
						capsFl|=4;
					}
					kstate = 0x80 | capsFl;
				}
			//	ki = USBH_HID_GetKeybdInfo(&hUsbHostFS);
		}
		if(kstate&0x80)
		{
		    	kstate &= 0x7f;
		    	int tmOut = 1000;
		    	while(tmOut>0&&USBH_HID_SetReport(&hUsbHostFS,0x2,0,&kstate,1)!=USBH_OK)
		    	{
		    		tmOut--;
		    	};
		}
	}
	else
	{
		  capsFl = 9;
	}
}

//~ volatile int cntP  = 0;

/* USER CODE END 0 */

int main(void)
{

  /* MCU Configuration--------------------------------------------------------*/

  /* Reset of all peripherals, Initializes the Flash interface and the Systick. */
  HAL_Init();

  /* Configure the system clock */
  SystemClock_Config();

  /* Initialize all configured peripherals */
  MX_GPIO_Init();
  MX_DMA_Init();
  MX_USART1_UART_Init();
  MX_SPI2_Init();
  MX_SPI1_Init();
  MX_RTC_Init();
  MX_FATFS_Init();
  MX_USB_HOST_Init();
  MX_TIM4_Init();
  MX_TIM1_Init();
  MX_TIM3_Init();
  /* USER CODE BEGIN 2 */
   printf("\n\nProgram start\n");
  // init_ram();
   init_Sinclair();
	if(HAL_TIM_Base_Start(&htim3)!= HAL_OK)
	{
		printf("set TIM1 TIM_CHANNEL_3 error\r\n");
	}
	{
		uint32_t tstart= TIM3->CNT;
		HAL_Delay(10);
		tstart= TIM3->CNT-tstart;
		printf("TIM3->CNT in 10 ms= %d\n",tstart);
	}
   SD_CardInfo CardInfo;
   uint8_t sd_state= BSP_SD_Init();
   printf("sd_state = %x\n",sd_state);
   BSP_SD_GetCardInfo(&CardInfo);
	int WW= initTables();
   printf("W2 =%d\n",NL_SIZE-NS_SIZE);
   printf("H=%d %d\n",WW/2,WW);

   printf("hsd.CardCapacity =%d\n",CardInfo.CardCapacity);
   //printf("hsd.SdCard.BlockNbr=%d\n",hsd.SdCard.BlockNbr);
   //printf("hsd.SdCard.BlockSize=%d\n",hsd.SdCard.BlockSize);
   //printf("hsd.SdCard.CardType=%d\n",hsd.SdCard.CardType);
   //printf("hsd.SdCard.CardVersion=%d\n",hsd.SdCard.CardVersion);
   //printf("hsd.SdCard.Class=%d\n",hsd.SdCard.Class);
   printf("hsd.CardBlockSize =%d\n",CardInfo.CardBlockSize);
   printf("hsd.SdCard.LogBlockNbr=%d\n",CardInfo.LogBlockNbr);
   printf("hsd.SdCard.LogBlockSize=%d\n",CardInfo.LogBlockSize);

 /*
   printf("CardInfo.BlockNbr  = 0x%x\n",CardInfo.BlockNbr);
   printf("CardInfo.BlockSize = 0x%x\n",CardInfo.BlockSize);
   printf("CardInfo.CardType  = 0x%x\n",CardInfo.CardType);
   printf("CardInfo.CardVersion  = 0x%x\n",CardInfo.CardVersion);
   printf("CardInfo.Class  = %x\n",CardInfo.Class);
   printf("CardInfo.LogBlockNbr  = 0x%x\n",CardInfo.LogBlockNbr);
   printf("CardInfo.LogBlockSize  = 0x%x\n",CardInfo.LogBlockSize);
   printf("CardInfo.RelCardAdd  = 0x%x\n",CardInfo.RelCardAdd);
 */
   uint64_t size_k = CardInfo.LogBlockNbr;
   size_k = size_k*CardInfo.LogBlockSize;

   printf("CardInfo size %d MB\n",(int)(size_k/1024/1024));
  printf("freq= %d %d %d %d\n",HAL_RCC_GetSysClockFreq(),HAL_RCC_GetHCLKFreq(),HAL_RCC_GetPCLK1Freq(),HAL_RCC_GetPCLK2Freq());
  {
	  int32_t tk = HAL_GetTick();
	  int stat = 0;
	  int kk;
	  for(kk=0;(kk<2*64)&&!stat;kk++)
	  {
  			stat = BSP_SD_ReadBlocks(&SD_BUFF[0],kk,1, SD_TIMEOUT);
	  }
	  tk = HAL_GetTick()-tk;
	  printf("Read %d blocks (bytes = %d) in %d ms st = %d\n",kk,kk*512,tk,stat);
	//  paint();
  }
  f_mount(NULL,USERPath, 0);
	if(f_mount(&USERFatFS,USERPath, 0) != FR_OK)
	{
		printf("f_mount Error!\r\n");
		return 0;
	}
#if 0
	char baseDir[0x20];
	strcpy(baseDir,"/");
	int rfiles =  readDirIntoList1(baseDir);
	strcpy(baseDir,"/Z48");
	printf("Z48:\n------");
	rfiles =  readDirIntoList1(baseDir);
	strcpy(baseDir,"/Z128");
	printf("Z128:\n------");
	rfiles =  readDirIntoList1(baseDir);
#endif
//   init_Display();
#ifndef TV_OUT
      {
	      LCD_init();
	      LCD_setRotation(PORTRAIT_FLIP);
   		uint32_t trt = HAL_GetTick();
   		int k;
   		//  printf("RID4 %x\n",ili9341_ReadID4());
   		//  printf("RID4 %x\n",ili9341_ReadID4());
   		//setBK_imp(99);
   		for(k=0;k<10;k++)
   		{
   			LCD_fillRect(0, 0, LCD_getWidth(), LCD_getHeight(), rand());
   			//HAL_GPIO_TogglePin(BOARD_LED_GPIO_Port,BOARD_LED_Pin);
   		}
   		trt = (HAL_GetTick()-trt);
   		printf("SCR_FULL %d uS\n",trt*100);
        LCD_fillRect(0, 0, LCD_getWidth(), LCD_getHeight(),BLACK);
      }
#endif
      /* Open the JPG image with read access */
	    printf("initTimers\n");
	    init_timerLL1();
	    init_timerLL4();
		printf("setCurrentFunc(&menu_dispatch)\n");
		volatile struct SYS_EVENT event;
		event.message = MESS_OPEN;
		event.param1  = 0x1234;
		event.param2  = 0x5678;
	#warning "setCurrentFunc(&menu_dispatch),no sinclair on start!"
	//	setModeFile(1);
	//	setCurrentFunc(&z48_z128_dispatch);
		HAL_Delay(3000);
		testPattern = 0;
		setCurrentFunc(&menu_dispatch);

  //    init_ram();
  /* USER CODE END 2 */

  /* Infinite loop */
  /* USER CODE BEGIN WHILE */
   while (1)
  {
	  	  if(keyMatrix&&(event.message==MESS_IDLE))
	  	  {
	  		  event.param1 = keyMatrix;
	  		  event.param2 = HAL_GetTick();
	  		  event.message = MESS_KEYBOARD;
	  		  //printf("key = %x\n",keyMatrix);
	  		 // printf("cnt t3 %d %x %x %x \r\n ",event.param2,keyMatrix,TIM3->CNT,TIM1->CNT);
	  	  }
	  	  else
	  	  {
	  		  HAL_GPIO_TogglePin(LED_GPIO_Port, LED_Pin);
	  	  }
	  	  (*currFunc)(&event);
	  	  if(event.message==MESS_CLOSE)
	  	  {
	  		event.message = MESS_REPAINT;
	  		printf("stackFuncP B =%d\r\n",stackFuncP);
	  		popMenuFunc();
	  		printf("stackFuncP A b=%d\r\n",stackFuncP);
	  		//currFunc = &menu_dispatch;
	  	  }
    /* USER CODE END WHILE */
    MX_USB_HOST_Process();

    /* USER CODE BEGIN 3 */
    kscan0();
  }
  /* USER CODE END 3 */
}

void SystemClock_Config(void)
{
  RCC_OscInitTypeDef RCC_OscInitStruct = {0};
  RCC_ClkInitTypeDef RCC_ClkInitStruct = {0};
  RCC_PeriphCLKInitTypeDef PeriphClkInitStruct = {0};

  /**Configure the main internal regulator output voltage
  */
  __HAL_RCC_PWR_CLK_ENABLE();
  __HAL_PWR_VOLTAGESCALING_CONFIG(PWR_REGULATOR_VOLTAGE_SCALE2);
  /**Initializes the CPU, AHB and APB busses clocks
  */
  RCC_OscInitStruct.OscillatorType = RCC_OSCILLATORTYPE_HSE|RCC_OSCILLATORTYPE_LSE;
  RCC_OscInitStruct.HSEState = RCC_HSE_ON;
  RCC_OscInitStruct.LSEState = RCC_LSE_ON;
  RCC_OscInitStruct.PLL.PLLState = RCC_PLL_ON;
  RCC_OscInitStruct.PLL.PLLSource = RCC_PLLSOURCE_HSE;
  RCC_OscInitStruct.PLL.PLLM = 25;
  RCC_OscInitStruct.PLL.PLLN = 336;
  RCC_OscInitStruct.PLL.PLLP = RCC_PLLP_DIV4;
  RCC_OscInitStruct.PLL.PLLQ = 7;
  if (HAL_RCC_OscConfig(&RCC_OscInitStruct) != HAL_OK)
  {
    Error_Handler();
  }
  /**Initializes the CPU, AHB and APB busses clocks
  */
  RCC_ClkInitStruct.ClockType = RCC_CLOCKTYPE_HCLK|RCC_CLOCKTYPE_SYSCLK
                              |RCC_CLOCKTYPE_PCLK1|RCC_CLOCKTYPE_PCLK2;
  RCC_ClkInitStruct.SYSCLKSource = RCC_SYSCLKSOURCE_PLLCLK;
  RCC_ClkInitStruct.AHBCLKDivider = RCC_SYSCLK_DIV1;
  RCC_ClkInitStruct.APB1CLKDivider = RCC_HCLK_DIV2;
  RCC_ClkInitStruct.APB2CLKDivider = RCC_HCLK_DIV1;

  if (HAL_RCC_ClockConfig(&RCC_ClkInitStruct, FLASH_LATENCY_2) != HAL_OK)
  {
    Error_Handler();
  }
  PeriphClkInitStruct.PeriphClockSelection = RCC_PERIPHCLK_RTC;
  PeriphClkInitStruct.RTCClockSelection = RCC_RTCCLKSOURCE_LSE;
  if (HAL_RCCEx_PeriphCLKConfig(&PeriphClkInitStruct) != HAL_OK)
  {
    Error_Handler();
  }
}

static void MX_RTC_Init(void)
{

  RTC_TimeTypeDef sTime = {0};
  RTC_DateTypeDef sDate = {0};

  /**Initialize RTC Only
  */
  hrtc.Instance = RTC;
  hrtc.Init.HourFormat = RTC_HOURFORMAT_24;
  hrtc.Init.AsynchPrediv = 127;
  hrtc.Init.SynchPrediv = 255;
  hrtc.Init.OutPut = RTC_OUTPUT_DISABLE;
  hrtc.Init.OutPutPolarity = RTC_OUTPUT_POLARITY_HIGH;
  hrtc.Init.OutPutType = RTC_OUTPUT_TYPE_OPENDRAIN;
  if (HAL_RTC_Init(&hrtc) != HAL_OK)
  {
    Error_Handler();
  }

  /**Initialize RTC and set the Time and Date
  */
  sTime.Hours = 0x0;
  sTime.Minutes = 0x0;
  sTime.Seconds = 0x0;
  sTime.DayLightSaving = RTC_DAYLIGHTSAVING_NONE;
  sTime.StoreOperation = RTC_STOREOPERATION_RESET;
  if (HAL_RTC_SetTime(&hrtc, &sTime, RTC_FORMAT_BCD) != HAL_OK)
  {
    Error_Handler();
  }
  sDate.WeekDay = RTC_WEEKDAY_MONDAY;
  sDate.Month = RTC_MONTH_JANUARY;
  sDate.Date = 0x1;
  sDate.Year = 0x0;

  if (HAL_RTC_SetDate(&hrtc, &sDate, RTC_FORMAT_BCD) != HAL_OK)
  {
    Error_Handler();
  }

}

static void MX_SPI1_Init(void)
{

  /* SPI1 parameter configuration*/
  hspi1.Instance = SPI1;
  hspi1.Init.Mode = SPI_MODE_MASTER;
  hspi1.Init.Direction = SPI_DIRECTION_2LINES;
  hspi1.Init.DataSize = SPI_DATASIZE_8BIT;
  hspi1.Init.CLKPolarity = SPI_POLARITY_LOW;
  hspi1.Init.CLKPhase = SPI_PHASE_1EDGE;
  hspi1.Init.NSS = SPI_NSS_SOFT;
  hspi1.Init.BaudRatePrescaler = SPI_BAUDRATEPRESCALER_2;
  hspi1.Init.FirstBit = SPI_FIRSTBIT_MSB;
  hspi1.Init.TIMode = SPI_TIMODE_DISABLE;
  hspi1.Init.CRCCalculation = SPI_CRCCALCULATION_DISABLE;
  hspi1.Init.CRCPolynomial = 10;
  if (HAL_SPI_Init(&hspi1) != HAL_OK)
  {
    Error_Handler();
  }

}

static void MX_SPI2_Init(void)
{

  /* SPI2 parameter configuration*/
  hspi2.Instance = SPI2;
  hspi2.Init.Mode = SPI_MODE_MASTER;
  hspi2.Init.Direction = SPI_DIRECTION_2LINES;
  hspi2.Init.DataSize = SPI_DATASIZE_8BIT;
  hspi2.Init.CLKPolarity = SPI_POLARITY_HIGH;
  hspi2.Init.CLKPhase = SPI_PHASE_2EDGE;
  hspi2.Init.NSS = SPI_NSS_SOFT;
  hspi2.Init.BaudRatePrescaler = SPI_BAUDRATEPRESCALER_2;
  hspi2.Init.FirstBit = SPI_FIRSTBIT_MSB;
  hspi2.Init.TIMode = SPI_TIMODE_DISABLE;
  hspi2.Init.CRCCalculation = SPI_CRCCALCULATION_DISABLE;
  hspi2.Init.CRCPolynomial = 10;
  if (HAL_SPI_Init(&hspi2) != HAL_OK)
  {
    Error_Handler();
  }

}

static void MX_TIM1_Init(void)
{

  LL_TIM_InitTypeDef TIM_InitStruct = {0};
  LL_TIM_OC_InitTypeDef TIM_OC_InitStruct = {0};
  LL_TIM_BDTR_InitTypeDef TIM_BDTRInitStruct = {0};

  LL_GPIO_InitTypeDef GPIO_InitStruct = {0};

  /* Peripheral clock enable */
  LL_APB2_GRP1_EnableClock(LL_APB2_GRP1_PERIPH_TIM1);

  /* TIM1 DMA Init */

  /* TIM1_CH2 Init */
  LL_DMA_SetChannelSelection(DMA2, LL_DMA_STREAM_2, LL_DMA_CHANNEL_6);

  LL_DMA_SetDataTransferDirection(DMA2, LL_DMA_STREAM_2, LL_DMA_DIRECTION_MEMORY_TO_PERIPH);

  LL_DMA_SetStreamPriorityLevel(DMA2, LL_DMA_STREAM_2, LL_DMA_PRIORITY_VERYHIGH);

  LL_DMA_SetMode(DMA2, LL_DMA_STREAM_2, LL_DMA_MODE_CIRCULAR);

  LL_DMA_SetPeriphIncMode(DMA2, LL_DMA_STREAM_2, LL_DMA_PERIPH_NOINCREMENT);

  LL_DMA_SetMemoryIncMode(DMA2, LL_DMA_STREAM_2, LL_DMA_MEMORY_INCREMENT);

  LL_DMA_SetPeriphSize(DMA2, LL_DMA_STREAM_2, LL_DMA_PDATAALIGN_HALFWORD);

  LL_DMA_SetMemorySize(DMA2, LL_DMA_STREAM_2, LL_DMA_MDATAALIGN_WORD);

  LL_DMA_EnableFifoMode(DMA2, LL_DMA_STREAM_2);

  LL_DMA_SetFIFOThreshold(DMA2, LL_DMA_STREAM_2, LL_DMA_FIFOTHRESHOLD_FULL);

  LL_DMA_SetMemoryBurstxfer(DMA2, LL_DMA_STREAM_2, LL_DMA_MBURST_INC4);

  LL_DMA_SetPeriphBurstxfer(DMA2, LL_DMA_STREAM_2, LL_DMA_PBURST_SINGLE);

  TIM_InitStruct.Prescaler = 0;
  TIM_InitStruct.CounterMode = LL_TIM_COUNTERMODE_UP;
  TIM_InitStruct.Autoreload = 12;
  TIM_InitStruct.ClockDivision = LL_TIM_CLOCKDIVISION_DIV1;
  TIM_InitStruct.RepetitionCounter = 0;
  LL_TIM_Init(TIM1, &TIM_InitStruct);
  LL_TIM_OC_EnablePreload(TIM1, LL_TIM_CHANNEL_CH2);
  TIM_OC_InitStruct.OCMode = LL_TIM_OCMODE_PWM1;
  TIM_OC_InitStruct.OCState = LL_TIM_OCSTATE_DISABLE;
  TIM_OC_InitStruct.OCNState = LL_TIM_OCSTATE_DISABLE;
  TIM_OC_InitStruct.CompareValue = 0;
  TIM_OC_InitStruct.OCPolarity = LL_TIM_OCPOLARITY_HIGH;
  TIM_OC_InitStruct.OCNPolarity = LL_TIM_OCPOLARITY_HIGH;
  TIM_OC_InitStruct.OCIdleState = LL_TIM_OCIDLESTATE_LOW;
  TIM_OC_InitStruct.OCNIdleState = LL_TIM_OCIDLESTATE_LOW;
  LL_TIM_OC_Init(TIM1, LL_TIM_CHANNEL_CH2, &TIM_OC_InitStruct);
  LL_TIM_OC_DisableFast(TIM1, LL_TIM_CHANNEL_CH2);
  LL_TIM_SetTriggerOutput(TIM1, LL_TIM_TRGO_RESET);
  LL_TIM_DisableMasterSlaveMode(TIM1);
  TIM_BDTRInitStruct.OSSRState = LL_TIM_OSSR_DISABLE;
  TIM_BDTRInitStruct.OSSIState = LL_TIM_OSSI_DISABLE;
  TIM_BDTRInitStruct.LockLevel = LL_TIM_LOCKLEVEL_OFF;
  TIM_BDTRInitStruct.DeadTime = 0;
  TIM_BDTRInitStruct.BreakState = LL_TIM_BREAK_DISABLE;
  TIM_BDTRInitStruct.BreakPolarity = LL_TIM_BREAK_POLARITY_HIGH;
  TIM_BDTRInitStruct.AutomaticOutput = LL_TIM_AUTOMATICOUTPUT_DISABLE;
  LL_TIM_BDTR_Init(TIM1, &TIM_BDTRInitStruct);
  LL_AHB1_GRP1_EnableClock(LL_AHB1_GRP1_PERIPH_GPIOA);
  /**TIM1 GPIO Configuration
  PA9   ------> TIM1_CH2
  */
  GPIO_InitStruct.Pin = LL_GPIO_PIN_9;
  GPIO_InitStruct.Mode = LL_GPIO_MODE_ALTERNATE;
  GPIO_InitStruct.Speed = LL_GPIO_SPEED_FREQ_LOW;
  GPIO_InitStruct.OutputType = LL_GPIO_OUTPUT_PUSHPULL;
  GPIO_InitStruct.Pull = LL_GPIO_PULL_NO;
  GPIO_InitStruct.Alternate = LL_GPIO_AF_1;
  LL_GPIO_Init(GPIOA, &GPIO_InitStruct);

}

static void MX_TIM3_Init(void)
{

  TIM_ClockConfigTypeDef sClockSourceConfig = {0};
  TIM_MasterConfigTypeDef sMasterConfig = {0};

  htim3.Instance = TIM3;
  htim3.Init.Prescaler = 84-1;
  htim3.Init.CounterMode = TIM_COUNTERMODE_UP;
  htim3.Init.Period = 65535;
  htim3.Init.ClockDivision = TIM_CLOCKDIVISION_DIV1;
  if (HAL_TIM_Base_Init(&htim3) != HAL_OK)
  {
    Error_Handler();
  }
  sClockSourceConfig.ClockSource = TIM_CLOCKSOURCE_INTERNAL;
  if (HAL_TIM_ConfigClockSource(&htim3, &sClockSourceConfig) != HAL_OK)
  {
    Error_Handler();
  }
  sMasterConfig.MasterOutputTrigger = TIM_TRGO_RESET;
  sMasterConfig.MasterSlaveMode = TIM_MASTERSLAVEMODE_DISABLE;
  if (HAL_TIMEx_MasterConfigSynchronization(&htim3, &sMasterConfig) != HAL_OK)
  {
    Error_Handler();
  }

}

static void MX_TIM4_Init(void)
{

  LL_TIM_InitTypeDef TIM_InitStruct = {0};
  LL_TIM_OC_InitTypeDef TIM_OC_InitStruct = {0};

  LL_GPIO_InitTypeDef GPIO_InitStruct = {0};

  /* Peripheral clock enable */
  LL_APB1_GRP1_EnableClock(LL_APB1_GRP1_PERIPH_TIM4);

  /* TIM4 DMA Init */

  /* TIM4_CH3 Init */
  LL_DMA_SetChannelSelection(DMA1, LL_DMA_STREAM_7, LL_DMA_CHANNEL_2);

  LL_DMA_SetDataTransferDirection(DMA1, LL_DMA_STREAM_7, LL_DMA_DIRECTION_MEMORY_TO_PERIPH);

  LL_DMA_SetStreamPriorityLevel(DMA1, LL_DMA_STREAM_7, LL_DMA_PRIORITY_HIGH);

  LL_DMA_SetMode(DMA1, LL_DMA_STREAM_7, LL_DMA_MODE_CIRCULAR);

  LL_DMA_SetPeriphIncMode(DMA1, LL_DMA_STREAM_7, LL_DMA_PERIPH_NOINCREMENT);

  LL_DMA_SetMemoryIncMode(DMA1, LL_DMA_STREAM_7, LL_DMA_MEMORY_INCREMENT);

  LL_DMA_SetPeriphSize(DMA1, LL_DMA_STREAM_7, LL_DMA_PDATAALIGN_HALFWORD);

  LL_DMA_SetMemorySize(DMA1, LL_DMA_STREAM_7, LL_DMA_MDATAALIGN_WORD);

  LL_DMA_EnableFifoMode(DMA1, LL_DMA_STREAM_7);

  LL_DMA_SetFIFOThreshold(DMA1, LL_DMA_STREAM_7, LL_DMA_FIFOTHRESHOLD_FULL);

  LL_DMA_SetMemoryBurstxfer(DMA1, LL_DMA_STREAM_7, LL_DMA_MBURST_INC4);

  LL_DMA_SetPeriphBurstxfer(DMA1, LL_DMA_STREAM_7, LL_DMA_PBURST_SINGLE);

  TIM_InitStruct.Prescaler = 0;
  TIM_InitStruct.CounterMode = LL_TIM_COUNTERMODE_UP;
  TIM_InitStruct.Autoreload = 1903;
  TIM_InitStruct.ClockDivision = LL_TIM_CLOCKDIVISION_DIV1;
  LL_TIM_Init(TIM4, &TIM_InitStruct);
  LL_TIM_OC_EnablePreload(TIM4, LL_TIM_CHANNEL_CH3);
  TIM_OC_InitStruct.OCMode = LL_TIM_OCMODE_PWM1;
  TIM_OC_InitStruct.OCState = LL_TIM_OCSTATE_DISABLE;
  TIM_OC_InitStruct.OCNState = LL_TIM_OCSTATE_DISABLE;
  TIM_OC_InitStruct.CompareValue = 0;
  TIM_OC_InitStruct.OCPolarity = LL_TIM_OCPOLARITY_HIGH;
  LL_TIM_OC_Init(TIM4, LL_TIM_CHANNEL_CH3, &TIM_OC_InitStruct);
  LL_TIM_OC_DisableFast(TIM4, LL_TIM_CHANNEL_CH3);
  LL_TIM_SetTriggerOutput(TIM4, LL_TIM_TRGO_RESET);
  LL_TIM_DisableMasterSlaveMode(TIM4);
  LL_AHB1_GRP1_EnableClock(LL_AHB1_GRP1_PERIPH_GPIOB);
  /**TIM4 GPIO Configuration
  PB8   ------> TIM4_CH3
  */
  GPIO_InitStruct.Pin = LL_GPIO_PIN_8;
  GPIO_InitStruct.Mode = LL_GPIO_MODE_ALTERNATE;
  GPIO_InitStruct.Speed = LL_GPIO_SPEED_FREQ_LOW;
  GPIO_InitStruct.OutputType = LL_GPIO_OUTPUT_PUSHPULL;
  GPIO_InitStruct.Pull = LL_GPIO_PULL_NO;
  GPIO_InitStruct.Alternate = LL_GPIO_AF_2;
  LL_GPIO_Init(GPIOB, &GPIO_InitStruct);

}

static void MX_USART1_UART_Init(void)
{

  huart1.Instance = USART1;
  huart1.Init.BaudRate = 115200;
  huart1.Init.WordLength = UART_WORDLENGTH_8B;
  huart1.Init.StopBits = UART_STOPBITS_1;
  huart1.Init.Parity = UART_PARITY_NONE;
  huart1.Init.Mode = UART_MODE_TX_RX;
  huart1.Init.HwFlowCtl = UART_HWCONTROL_NONE;
  huart1.Init.OverSampling = UART_OVERSAMPLING_16;
  if (HAL_UART_Init(&huart1) != HAL_OK)
  {
    Error_Handler();
  }

}

static void MX_DMA_Init(void)
{
  /* DMA controller clock enable */
  __HAL_RCC_DMA1_CLK_ENABLE();
  __HAL_RCC_DMA2_CLK_ENABLE();

  /* DMA interrupt init */
  /* DMA1_Stream4_IRQn interrupt configuration */
  HAL_NVIC_SetPriority(DMA1_Stream4_IRQn, 1, 0);
  HAL_NVIC_EnableIRQ(DMA1_Stream4_IRQn);
  /* DMA1_Stream7_IRQn interrupt configuration */
  NVIC_SetPriority(DMA1_Stream7_IRQn, NVIC_EncodePriority(NVIC_GetPriorityGrouping(),1, 0));
  NVIC_EnableIRQ(DMA1_Stream7_IRQn);
  /* DMA2_Stream2_IRQn interrupt configuration */
  NVIC_SetPriority(DMA2_Stream2_IRQn, NVIC_EncodePriority(NVIC_GetPriorityGrouping(),0, 0));
  NVIC_EnableIRQ(DMA2_Stream2_IRQn);

}

static void MX_GPIO_Init(void)
{
  GPIO_InitTypeDef GPIO_InitStruct = {0};

  /* GPIO Ports Clock Enable */
  __HAL_RCC_GPIOC_CLK_ENABLE();
  __HAL_RCC_GPIOH_CLK_ENABLE();
  __HAL_RCC_GPIOA_CLK_ENABLE();
  __HAL_RCC_GPIOB_CLK_ENABLE();

  /*Configure GPIO pin Output Level */
  HAL_GPIO_WritePin(LED_GPIO_Port, LED_Pin, GPIO_PIN_RESET);

  /*Configure GPIO pin Output Level */
  HAL_GPIO_WritePin(GPIOA, SPI1_SEC_CS_Pin|LCD_CMD_Pin, GPIO_PIN_RESET);

  /*Configure GPIO pin Output Level */
  HAL_GPIO_WritePin(SPI1_CS_GPIO_Port, SPI1_CS_Pin, GPIO_PIN_SET);

  /*Configure GPIO pin Output Level */
  HAL_GPIO_WritePin(GPIOB, LCD_BL_Pin|LCD_RESET_Pin, GPIO_PIN_RESET);

  /*Configure GPIO pin : LED_Pin */
  GPIO_InitStruct.Pin = LED_Pin;
  GPIO_InitStruct.Mode = GPIO_MODE_OUTPUT_OD;
  GPIO_InitStruct.Pull = GPIO_NOPULL;
  GPIO_InitStruct.Speed = GPIO_SPEED_FREQ_LOW;
  HAL_GPIO_Init(LED_GPIO_Port, &GPIO_InitStruct);

  /*Configure GPIO pins : PA0 PA1 PA2 PA10
                           PA15 */
  GPIO_InitStruct.Pin = GPIO_PIN_0|GPIO_PIN_1|GPIO_PIN_2|GPIO_PIN_10
                          |GPIO_PIN_15;
  GPIO_InitStruct.Mode = GPIO_MODE_ANALOG;
  GPIO_InitStruct.Pull = GPIO_NOPULL;
  HAL_GPIO_Init(GPIOA, &GPIO_InitStruct);

  /*Configure GPIO pin : SPI1_SEC_CS_Pin */
  GPIO_InitStruct.Pin = SPI1_SEC_CS_Pin;
  GPIO_InitStruct.Mode = GPIO_MODE_OUTPUT_PP;
  GPIO_InitStruct.Pull = GPIO_NOPULL;
  GPIO_InitStruct.Speed = GPIO_SPEED_FREQ_VERY_HIGH;
  HAL_GPIO_Init(SPI1_SEC_CS_GPIO_Port, &GPIO_InitStruct);

  /*Configure GPIO pin : SPI1_CS_Pin */
  GPIO_InitStruct.Pin = SPI1_CS_Pin;
  GPIO_InitStruct.Mode = GPIO_MODE_OUTPUT_PP;
  GPIO_InitStruct.Pull = GPIO_NOPULL;
  GPIO_InitStruct.Speed = GPIO_SPEED_FREQ_LOW;
  HAL_GPIO_Init(SPI1_CS_GPIO_Port, &GPIO_InitStruct);

  /*Configure GPIO pins : PB0 PB1 PB2 PB10
                           PB3 PB4 PB5 PB9 */
  GPIO_InitStruct.Pin = GPIO_PIN_0|GPIO_PIN_1|GPIO_PIN_2|GPIO_PIN_10
                          |GPIO_PIN_3|GPIO_PIN_4|GPIO_PIN_5|GPIO_PIN_9;
  GPIO_InitStruct.Mode = GPIO_MODE_ANALOG;
  GPIO_InitStruct.Pull = GPIO_NOPULL;
  HAL_GPIO_Init(GPIOB, &GPIO_InitStruct);

  /*Configure GPIO pins : LCD_BL_Pin LCD_RESET_Pin */
  GPIO_InitStruct.Pin = LCD_BL_Pin|LCD_RESET_Pin;
  GPIO_InitStruct.Mode = GPIO_MODE_OUTPUT_PP;
  GPIO_InitStruct.Pull = GPIO_NOPULL;
  GPIO_InitStruct.Speed = GPIO_SPEED_FREQ_LOW;
  HAL_GPIO_Init(GPIOB, &GPIO_InitStruct);

  /*Configure GPIO pin : LCD_CMD_Pin */
  GPIO_InitStruct.Pin = LCD_CMD_Pin;
  GPIO_InitStruct.Mode = GPIO_MODE_OUTPUT_PP;
  GPIO_InitStruct.Pull = GPIO_NOPULL;
  GPIO_InitStruct.Speed = GPIO_SPEED_FREQ_HIGH;
  HAL_GPIO_Init(LCD_CMD_GPIO_Port, &GPIO_InitStruct);

}

void Error_Handler(void)
{
}

/************************ (C) COPYRIGHT STMicroelectronics *****END OF FILE****/
